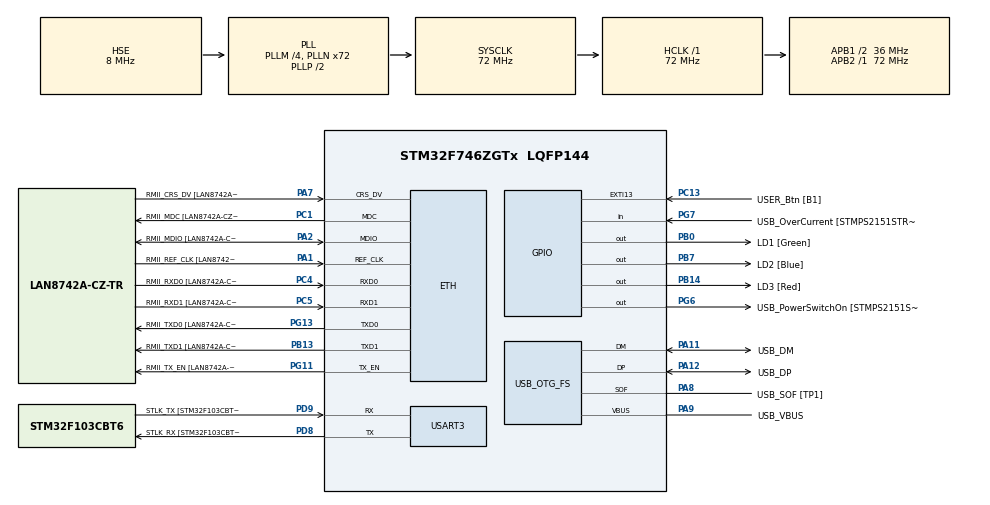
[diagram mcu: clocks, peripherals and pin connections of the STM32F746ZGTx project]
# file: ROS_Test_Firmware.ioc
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ETH.MediaInterface=HAL_ETH_RMII_MODE
ETH.PHY_Name=LAN8742A_PHY_ADDRESS
ETH.PHY_Value=0
ETH.PhyAddress=0
FREERTOS.Tasks01=defaultTask,24,128,StartDefaultTask,Default,NULL,Static,defaultTaskBuffer,defaultTaskControlBlock
FREERTOS.configUSE_NEWLIB_REENTRANT=1
Mcu.Family=STM32F7
Mcu.Name=STM32F746ZGTx
Mcu.Package=LQFP144
NVIC.OTG_FS_IRQn=true\:5\:0\:false\:false\:true\:true\:false\:true\:true
NVIC.PriorityGroup=NVIC_PRIORITYGROUP_4
NVIC.TIM1_UP_TIM10_IRQn=true\:15\:0\:false\:false\:true\:false\:false\:true\:true
NVIC.TimeBase=TIM1_UP_TIM10_IRQn
NVIC.TimeBaseIP=TIM1
PA1.GPIO_Label=RMII_REF_CLK [LAN8742A-CZ-TR_REFCLK0]
PA1.Mode=RMII
PA1.Signal=ETH_REF_CLK
PA10.GPIO_Label=USB_ID
PA10.Signal=USB_OTG_FS_ID
PA11.GPIO_Label=USB_DM
PA11.Mode=Device_Only
PA11.Signal=USB_OTG_FS_DM
PA12.GPIO_Label=USB_DP
PA12.Mode=Device_Only
PA12.Signal=USB_OTG_FS_DP
PA13.GPIO_Label=TMS
PA13.Mode=Serial_Wire
PA13.Signal=SYS_JTMS-SWDIO
PA14.GPIO_Label=TCK
PA14.Mode=Serial_Wire
PA14.Signal=SYS_JTCK-SWCLK
PA2.GPIO_Label=RMII_MDIO [LAN8742A-CZ-TR_MDIO]
PA2.Mode=RMII
PA2.Signal=ETH_MDIO
PA7.GPIO_Label=RMII_CRS_DV [LAN8742A-CZ-TR_CRS_DV]
PA7.Mode=RMII
PA7.Signal=ETH_CRS_DV
PA8.GPIO_Label=USB_SOF [TP1]
PA8.Mode=Activate_SOF_FS
PA8.Signal=USB_OTG_FS_SOF
PA9.GPIO_Label=USB_VBUS
PA9.Mode=Activate_VBUS
PA9.Signal=USB_OTG_FS_VBUS
PB0.GPIO_Label=LD1 [Green]
PB0.Signal=GPIO_Output
PB13.GPIO_Label=RMII_TXD1 [LAN8742A-CZ-TR_TXD1]
PB13.Mode=RMII
PB13.Signal=ETH_TXD1
PB14.GPIO_Label=LD3 [Red]
PB14.Signal=GPIO_Output
PB3.GPIO_Label=SW0
PB3.Signal=SYS_JTDO-SWO
PB7.GPIO_Label=LD2 [Blue]
PB7.Signal=GPIO_Output
PC1.GPIO_Label=RMII_MDC [LAN8742A-CZ-TR_MDC]
PC1.Mode=RMII
PC1.Signal=ETH_MDC
PC13.GPIO_Label=USER_Btn [B1]
PC13.Signal=GPXTI13
PC14/OSC32_IN.Signal=RCC_OSC32_IN
PC15/OSC32_OUT.Signal=RCC_OSC32_OUT
PC4.GPIO_Label=RMII_RXD0 [LAN8742A-CZ-TR_RXD0]
PC4.Mode=RMII
PC4.Signal=ETH_RXD0
PC5.GPIO_Label=RMII_RXD1 [LAN8742A-CZ-TR_RXD1]
PC5.Mode=RMII
PC5.Signal=ETH_RXD1
PD8.GPIO_Label=STLK_RX [STM32F103CBT6_PA3]
PD8.Mode=Asynchronous
PD8.Signal=USART3_TX
PD9.GPIO_Label=STLK_TX [STM32F103CBT6_PA2]
PD9.Mode=Asynchronous
PD9.Signal=USART3_RX
PG11.GPIO_Label=RMII_TX_EN [LAN8742A-CZ-TR_TXEN]
PG11.Mode=RMII
PG11.Signal=ETH_TX_EN
PG13.GPIO_Label=RMII_TXD0 [LAN8742A-CZ-TR_TXD0]
PG13.Mode=RMII
PG13.Signal=ETH_TXD0
PG6.GPIO_Label=USB_PowerSwitchOn [STMPS2151STR_EN]
PG6.Signal=GPIO_Output
PG7.GPIO_Label=USB_OverCurrent [STMPS2151STR_FAULT]
PG7.Signal=GPIO_Input
PH0/OSC_IN.GPIO_Label=MCO [STM32F103CBT6_PA8]
PH0/OSC_IN.Mode=HSE-External-Oscillator
PH0/OSC_IN.Signal=RCC_OSC_IN
PH1/OSC_OUT.Mode=HSE-External-Oscillator
PH1/OSC_OUT.Signal=RCC_OSC_OUT
ProjectManager.HeapSize=0x200
ProjectManager.StackSize=0x400
ProjectManager.TargetToolchain=STM32CubeIDE
RCC.48MHZClocksFreq_Value=24000000
RCC.AHBFreq_Value=72000000
RCC.APB1CLKDivider=RCC_HCLK_DIV2
RCC.APB1Freq_Value=36000000
RCC.APB1TimFreq_Value=72000000
RCC.APB2Freq_Value=72000000
RCC.APB2TimFreq_Value=72000000
RCC.CortexFreq_Value=72000000
RCC.HCLKFreq_Value=72000000
RCC.HSE_VALUE=8000000
RCC.HSI_VALUE=16000000
RCC.LSE_VALUE=32768
RCC.PLLM=4
RCC.PLLMUL=RCC_PLL_MUL9
RCC.PLLN=72
RCC.PLLQ=3
RCC.PRESCALERUSB=RCC_USBCLKSOURCE_PLL_DIV1_5
RCC.SYSCLKFreq_VALUE=72000000
RCC.SYSCLKSource=RCC_SYSCLKSOURCE_PLLCLK
RCC.SYSCLKSourceVirtual=RCC_SYSCLKSOURCE_PLLCLK
RCC.USBFreq_Value=48000000
RCC.VCOOutputFreq_Value=144000000
USART3.VirtualMode-Asynchronous=VM_ASYNC
USB_DEVICE.CLASS_NAME_FS=CDC
USB_DEVICE.VirtualMode-CDC_FS=Cdc
USB_DEVICE.VirtualModeFS=Cdc_FS
USB_OTG_FS.VirtualMode=Device_Only
VP_FREERTOS_VS_CMSIS_V2.Mode=CMSIS_V2
VP_SYS_VS_tim1.Mode=TIM1
VP_USB_DEVICE_VS_USB_DEVICE_CDC_FS.Mode=CDC_FS
board=NUCLEO-F746ZG

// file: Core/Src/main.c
/* USER CODE BEGIN Header */
/**
  ******************************************************************************
  * @file           : main.c
  * @brief          : Main program body
  ******************************************************************************
  * @attention
  *
  * Copyright (c) 2023 STMicroelectronics.
  * All rights reserved.
  *
  * This software is licensed under terms that can be found in the LICENSE file
  * in the root directory of this software component.
  * If no LICENSE file comes with this software, it is provided AS-IS.
  *
  ******************************************************************************
  */
/* USER CODE END Header */
#include "main.h"
#include "cmsis_os.h"
#include "eth.h"
#include "usart.h"
#include "usb_device.h"
#include "gpio.h"

void SystemClock_Config(void);
void MX_FREERTOS_Init(void);

int main(void)
{

  /* MCU Configuration--------------------------------------------------------*/

  /* Reset of all peripherals, Initializes the Flash interface and the Systick. */
  HAL_Init();

  /* Configure the system clock */
  SystemClock_Config();

  /* Initialize all configured peripherals */
  MX_GPIO_Init();
  MX_ETH_Init();
  MX_USART3_UART_Init();

  /* Init scheduler */
  osKernelInitialize();  /* Call init function for freertos objects (in freertos.c) */
  MX_FREERTOS_Init();

  /* Start scheduler */
  osKernelStart();
  /* We should never get here as control is now taken by the scheduler */
  /* Infinite loop */
  while (1)
  {

  }
}

void SystemClock_Config(void)
{
  RCC_OscInitTypeDef RCC_OscInitStruct = {0};
  RCC_ClkInitTypeDef RCC_ClkInitStruct = {0};

  /** Configure the main internal regulator output voltage
  */
  __HAL_RCC_PWR_CLK_ENABLE();
  __HAL_PWR_VOLTAGESCALING_CONFIG(PWR_REGULATOR_VOLTAGE_SCALE3);

  /** Initializes the RCC Oscillators according to the specified parameters
  * in the RCC_OscInitTypeDef structure.
  */
  RCC_OscInitStruct.OscillatorType = RCC_OSCILLATORTYPE_HSE;
  RCC_OscInitStruct.HSEState = RCC_HSE_ON;
  RCC_OscInitStruct.PLL.PLLState = RCC_PLL_ON;
  RCC_OscInitStruct.PLL.PLLSource = RCC_PLLSOURCE_HSE;
  RCC_OscInitStruct.PLL.PLLM = 4;
  RCC_OscInitStruct.PLL.PLLN = 72;
  RCC_OscInitStruct.PLL.PLLP = RCC_PLLP_DIV2;
  RCC_OscInitStruct.PLL.PLLQ = 3;
  if (HAL_RCC_OscConfig(&RCC_OscInitStruct) != HAL_OK)
  {
    Error_Handler();
  }

  /** Initializes the CPU, AHB and APB buses clocks
  */
  RCC_ClkInitStruct.ClockType = RCC_CLOCKTYPE_HCLK|RCC_CLOCKTYPE_SYSCLK
                              |RCC_CLOCKTYPE_PCLK1|RCC_CLOCKTYPE_PCLK2;
  RCC_ClkInitStruct.SYSCLKSource = RCC_SYSCLKSOURCE_PLLCLK;
  RCC_ClkInitStruct.AHBCLKDivider = RCC_SYSCLK_DIV1;
  RCC_ClkInitStruct.APB1CLKDivider = RCC_HCLK_DIV2;
  RCC_ClkInitStruct.APB2CLKDivider = RCC_HCLK_DIV1;

  if (HAL_RCC_ClockConfig(&RCC_ClkInitStruct, FLASH_LATENCY_2) != HAL_OK)
  {
    Error_Handler();
  }
}

void HAL_TIM_PeriodElapsedCallback(TIM_HandleTypeDef *htim)
{
  if (htim->Instance == TIM1) {
    HAL_IncTick();
  }
}

void Error_Handler(void)
{
  __disable_irq();
  while (1)
  {
  }
}

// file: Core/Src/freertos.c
/* USER CODE BEGIN Header */
/**
  ******************************************************************************
  * File Name          : freertos.c
  * Description        : Code for freertos applications
  ******************************************************************************
  * @attention
  *
  * Copyright (c) 2023 STMicroelectronics.
  * All rights reserved.
  *
  * This software is licensed under terms that can be found in the LICENSE file
  * in the root directory of this software component.
  * If no LICENSE file comes with this software, it is provided AS-IS.
  *
  ******************************************************************************
  */
/* USER CODE END Header */

#include "FreeRTOS.h"
#include "main.h"
#include "cmsis_os.h"

/* USER CODE BEGIN Includes */
#include "queue.h"
#include "microros_task.h"
#include "motion_task.h"
#include "queue_msg_types.h"
/* USER CODE END Includes */

typedef StaticTask_t osStaticThreadDef_t;

/* USER CODE BEGIN Variables */
/* Queue Definitions */
xQueueHandle CommandQueueHandle;
xQueueHandle StateQueueHandle;

/* Definitions for MicrorosTask */
osThreadId_t MicrorosTaskHandle;
uint32_t MicrorosTaksBuffer[ 3000 ];
osStaticThreadDef_t MicrorosTaksControlBlock;
const osThreadAttr_t MicrorosTask_attributes = {
  .name = "MicrorosTask",
  .cb_mem = &MicrorosTaksControlBlock,
  .cb_size = sizeof(MicrorosTaksControlBlock),
  .stack_mem = &MicrorosTaksBuffer[0],
  .stack_size = sizeof(MicrorosTaksBuffer),
  .priority = (osPriority_t) osPriorityNormal,
};

/* Definitions for MotionTask */
osThreadId_t MotionControlTaskHandle;
uint32_t MotionTaskBuffer[ 128 ];
osStaticThreadDef_t MotionTaskControlBlock;
const osThreadAttr_t MotionTask_attributes = {
  .name = "MotionTask",
  .cb_mem = &MotionTaskControlBlock,
  .cb_size = sizeof(MotionTaskControlBlock),
  .stack_mem = &MotionTaskBuffer[0],
  .stack_size = sizeof(MotionTaskBuffer),
  .priority = (osPriority_t) osPriorityHigh,
};

/* USER CODE END Variables */
/* Definitions for defaultTask */
osThreadId_t defaultTaskHandle;
uint32_t defaultTaskBuffer[ 128 ];
osStaticThreadDef_t defaultTaskControlBlock;
const osThreadAttr_t defaultTask_attributes = {
  .name = "defaultTask",
  .cb_mem = &defaultTaskControlBlock,
  .cb_size = sizeof(defaultTaskControlBlock),
  .stack_mem = &defaultTaskBuffer[0],
  .stack_size = sizeof(defaultTaskBuffer),
  .priority = (osPriority_t) osPriorityNormal,
};

void StartDefaultTask(void *argument);

void MX_FREERTOS_Init(void); /* (MISRA C 2004 rule 8.1) */

void MX_FREERTOS_Init(void) {

  /* USER CODE BEGIN RTOS_QUEUES */
  /* add queues, ... */
	CommandQueueHandle = xQueueCreate(5, sizeof(CommandMsg));
	StateQueueHandle = xQueueCreate(5, sizeof(StateMsg));
  /* USER CODE END RTOS_QUEUES */

  /* Create the thread(s) */
  /* creation of defaultTask */
  defaultTaskHandle = osThreadNew(StartDefaultTask, NULL, &defaultTask_attributes);

}

void StartDefaultTask(void *argument)
{
  /* USER CODE BEGIN StartDefaultTask */
  MicrorosTaskHandle = osThreadNew(MicrorosTaskFunction, NULL, &MicrorosTask_attributes);

  MotionControlTaskHandle = osThreadNew(MotionTaskFunction, NULL, &MotionTask_attributes);

  vTaskDelete(defaultTaskHandle);
  /* Infinite loop */
  for(;;)
  {
    osDelay(1);
  }
  /* USER CODE END StartDefaultTask */
}
